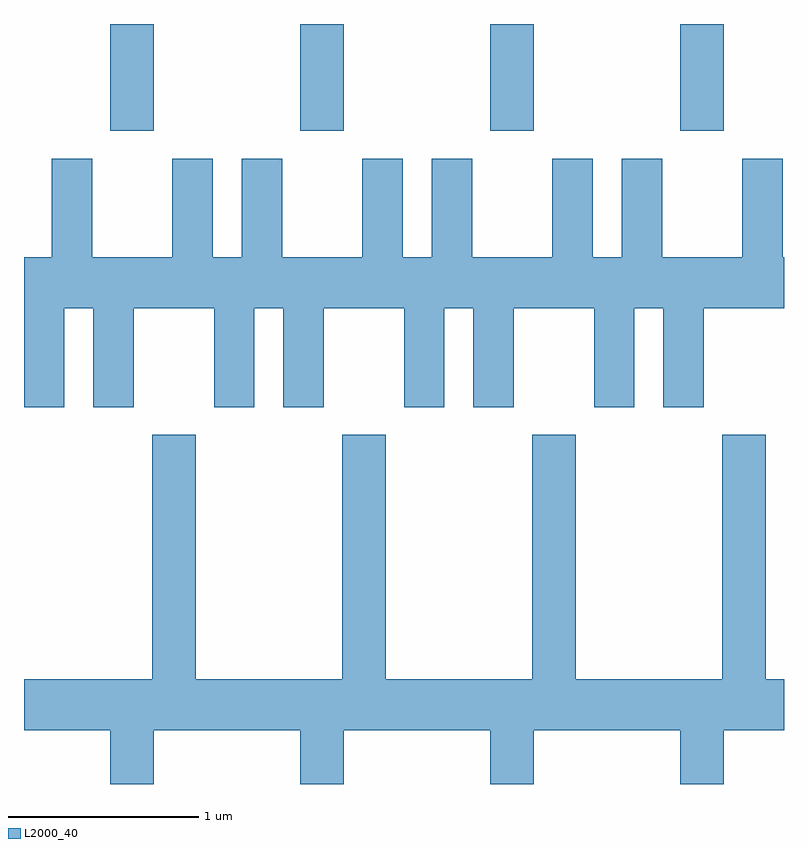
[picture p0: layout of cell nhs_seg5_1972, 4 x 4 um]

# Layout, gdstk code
import gdstk
lib = gdstk.Library(unit=1e-6, precision=1e-09)
def R(c, l, rs):  # rectangles x0, y0, x1, y1
    for r in rs: c.add(gdstk.rectangle(r[:2], r[2:], *l))
def A(c, l, x, y, w, h, nx, ny, dx, dy):  # array of equal rectangles
    R(c, l, [(x+i*dx, y+j*dy, x+i*dx+w, y+j*dy+h) for i in range(nx) for j in range(ny)])
def P(c, l, *ps):  # polygons
    for p in ps: c.add(gdstk.Polygon(p, *l))
L2000_40 = (2000, 40)

nhs_seg5_1972 = lib.new_cell('nhs_seg5_1972')
A(nhs_seg5_1972, L2000_40, 244.066, 1455.511, 0.228, 0.561, 4, 1, 1, 0)
P(nhs_seg5_1972, L2000_40, [(243.824,1454.576),(243.976,1454.576),(243.976,1454.056),(244.189,1454.056),(244.189,1454.576),(244.611,1454.576),(244.611,1454.056),(244.824,1454.056),(244.824,1454.576),(244.976,1454.576),(244.976,1454.056),(245.189,1454.056),(245.189,1454.576),(245.611,1454.576),(245.611,1454.056),(245.824,1454.056),(245.824,1454.576),(245.976,1454.576),(245.976,1454.056),(246.189,1454.056),(246.189,1454.576),(246.611,1454.576),(246.611,1454.056),(246.824,1454.056),(246.824,1454.576),(246.976,1454.576),(246.976,1454.056),(247.189,1454.056),(247.189,1454.576),(247.611,1454.576),(247.611,1454.844),(247.604,1454.844),(247.604,1455.364),(247.391,1455.364),(247.391,1454.844),(246.969,1454.844),(246.969,1455.364),(246.756,1455.364),(246.756,1454.844),(246.604,1454.844),(246.604,1455.364),(246.391,1455.364),(246.391,1454.844),(245.969,1454.844),(245.969,1455.364),(245.756,1455.364),(245.756,1454.844),(245.604,1454.844),(245.604,1455.364),(245.391,1455.364),(245.391,1454.844),(244.969,1454.844),(244.969,1455.364),(244.756,1455.364),(244.756,1454.844),(244.604,1454.844),(244.604,1455.364),(244.391,1455.364),(244.391,1454.844),(243.969,1454.844),(243.969,1455.364),(243.756,1455.364),(243.756,1454.844),(243.611,1454.844),(243.611,1454.056),(243.824,1454.056)],
  [(247.066,1452.072),(247.294,1452.072),(247.294,1452.356),(247.611,1452.356),(247.611,1452.624),(247.514,1452.624),(247.514,1453.909),(247.286,1453.909),(247.286,1452.624),(246.514,1452.624),(246.514,1453.909),(246.286,1453.909),(246.286,1452.624),(245.514,1452.624),(245.514,1453.909),(245.286,1453.909),(245.286,1452.624),(244.514,1452.624),(244.514,1453.909),(244.286,1453.909),(244.286,1452.624),(243.611,1452.624),(243.611,1452.356),(244.066,1452.356),(244.066,1452.072),(244.294,1452.072),(244.294,1452.356),(245.066,1452.356),(245.066,1452.072),(245.294,1452.072),(245.294,1452.356),(246.066,1452.356),(246.066,1452.072),(246.294,1452.072),(246.294,1452.356),(247.066,1452.356)])

lib.write_gds('nhs_seg5_1972.gds')
